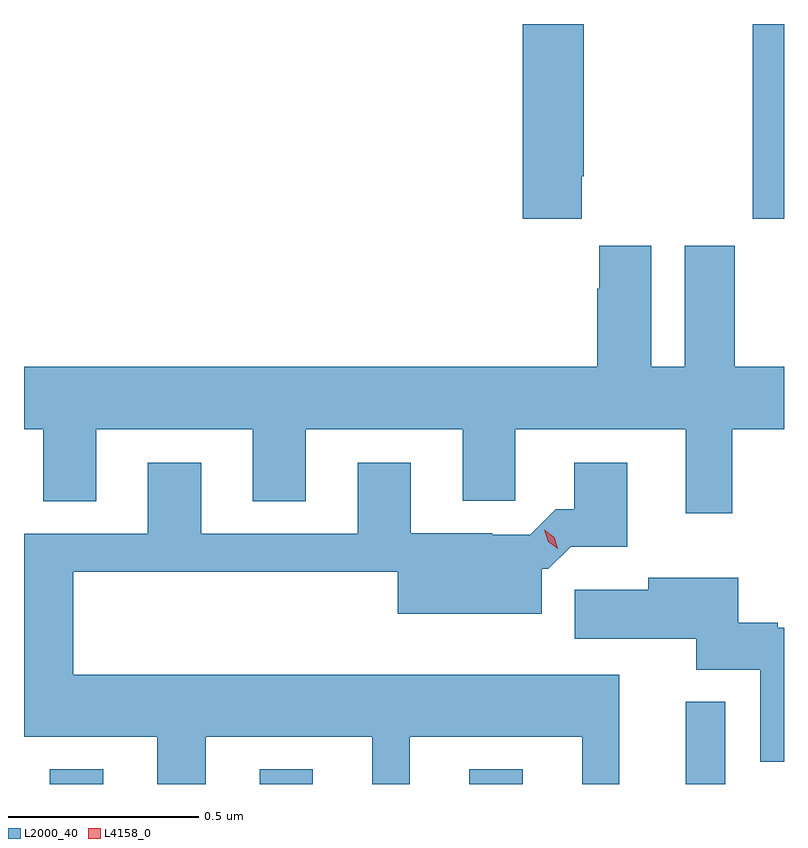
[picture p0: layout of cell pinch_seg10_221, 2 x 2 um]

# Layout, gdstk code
import gdstk
lib = gdstk.Library(unit=1e-6, precision=1e-09)
def R(c, l, rs):  # rectangles x0, y0, x1, y1
    for r in rs: c.add(gdstk.rectangle(r[:2], r[2:], *l))
def A(c, l, x, y, w, h, nx, ny, dx, dy):  # array of equal rectangles
    R(c, l, [(x+i*dx, y+j*dy, x+i*dx+w, y+j*dy+h) for i in range(nx) for j in range(ny)])
def P(c, l, *ps):  # polygons
    for p in ps: c.add(gdstk.Polygon(p, *l))
L2000_40 = (2000, 40)
L4158_0 = (4158, 0)

pinch_seg10_221 = lib.new_cell('pinch_seg10_221')
A(pinch_seg10_221, L2000_40, 843.437, 1276.738, 0.14, 0.039, 3, 1, 0.552, 0)
R(pinch_seg10_221, L2000_40, [(845.111,1276.738,845.215,1276.954), (845.287,1278.225,845.369,1278.738)])
P(pinch_seg10_221, L2000_40, [(844.837,1278.337),(844.842,1278.337),(844.842,1278.738),(844.682,1278.738),(844.682,1278.225),(844.837,1278.225)],
  [(845.233,1277.672),(845.369,1277.672),(845.369,1277.836),(845.239,1277.836),(845.239,1278.154),(845.108,1278.154),(845.108,1277.836),(845.02,1277.836),(845.02,1278.154),(844.883,1278.154),(844.883,1278.041),(844.877,1278.041),(844.877,1277.836),(843.369,1277.836),(843.369,1277.672),(843.419,1277.672),(843.419,1277.482),(843.559,1277.482),(843.559,1277.672),(843.971,1277.672),(843.971,1277.482),(844.111,1277.482),(844.111,1277.672),(844.523,1277.672),(844.523,1277.483),(844.662,1277.483),(844.662,1277.672),(845.111,1277.672),(845.111,1277.451),(845.233,1277.451)],
  [(843.847,1276.862),(844.286,1276.862),(844.286,1276.738),(844.384,1276.738),(844.384,1276.862),(844.838,1276.862),(844.838,1276.738),(844.936,1276.738),(844.936,1277.026),(843.499,1277.026),(843.499,1277.296),(844.352,1277.296),(844.352,1277.186),(844.732,1277.186),(844.732,1277.304),(844.749,1277.304),(844.808,1277.363),(844.957,1277.363),(844.957,1277.584),(844.817,1277.584),(844.817,1277.461),(844.768,1277.461),(844.701,1277.394),(844.601,1277.394),(844.601,1277.398),(844.387,1277.398),(844.387,1277.584),(844.247,1277.584),(844.247,1277.397),(843.835,1277.397),(843.835,1277.584),(843.695,1277.584),(843.695,1277.397),(843.369,1277.397),(843.369,1276.862),(843.719,1276.862),(843.719,1276.738),(843.847,1276.738)],
  [(845.369,1277.149),(845.352,1277.149),(845.352,1277.162),(845.248,1277.162),(845.248,1277.281),(845.012,1277.281),(845.012,1277.249),(844.818,1277.249),(844.818,1277.12),(845.138,1277.12),(845.138,1277.039),(845.306,1277.039),(845.306,1276.797),(845.369,1276.797)])
P(pinch_seg10_221, L4158_0, [(844.773,1277.357),(844.748,1277.376),(844.738,1277.407),(844.738,1277.407),(844.738,1277.407),(844.764,1277.388),(844.774,1277.358),(844.774,1277.357)])

lib.write_gds('pinch_seg10_221.gds')
